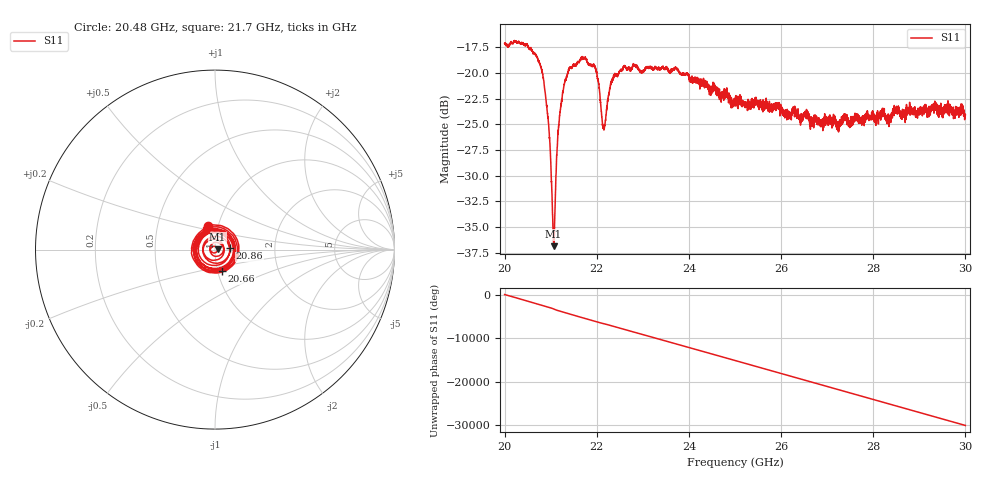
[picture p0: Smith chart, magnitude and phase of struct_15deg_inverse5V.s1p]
#  HZ  S  RI  R  50.00
! Rohde & Schwarz ZVA40 4Ports - Version 3.90 - 1145.1110k42 SN: 100403
! Date: 2023-09-28 09:21:17
! Measurement: S12
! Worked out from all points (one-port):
!   5001 points, 20 GHz to 30 GHz, reference 50 ohm
!   lowest |S11| = -36.8 dB at 21.06 GHz (marker M1), VSWR 1.03, Z = 51.4 + j0.247 ohm
!   |S11| at or under -10 dB: start of sweep to end of sweep
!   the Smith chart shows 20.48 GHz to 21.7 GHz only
!   S11 on the Smith chart (normalised r, x): 20.48 GHz: 0.89, +0.24; 20.66 GHz: 1.05, -0.25; 20.86 GHz: 1.19, +0.02; 21.7 GHz: 0.89, +0.20
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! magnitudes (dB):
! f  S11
! 20 GHz  -17.1
! 20.48 GHz  -17.2
! 20.66 GHz  -18.1
! 20.79 GHz  -19.4
! 20.86 GHz  -21.4
! 20.96 GHz  -25.0
! 20.99 GHz  -27.2
! 21.03 GHz  -32.8
! 21.06 GHz  -36.8
! 21.1 GHz  -33.0
! 21.17 GHz  -25.3
! 21.25 GHz  -22.3
! 21.4 GHz  -19.7
! 21.7 GHz  -18.5
! 21.97 GHz  -19.7
! 22.15 GHz  -25.5
! 22.33 GHz  -20.9
! 22.5 GHz  -19.8
! 22.82 GHz  -19.3
! 22.99 GHz  -19.9
! 23.75 GHz  -19.7
! 25 GHz  -22.7
! 26.25 GHz  -23.9
! 26.67 GHz  -24.8
! 27.5 GHz  -25.1
! 28.75 GHz  -24.0
! 29.59 GHz  -23.4
! 30 GHz  -24.1
